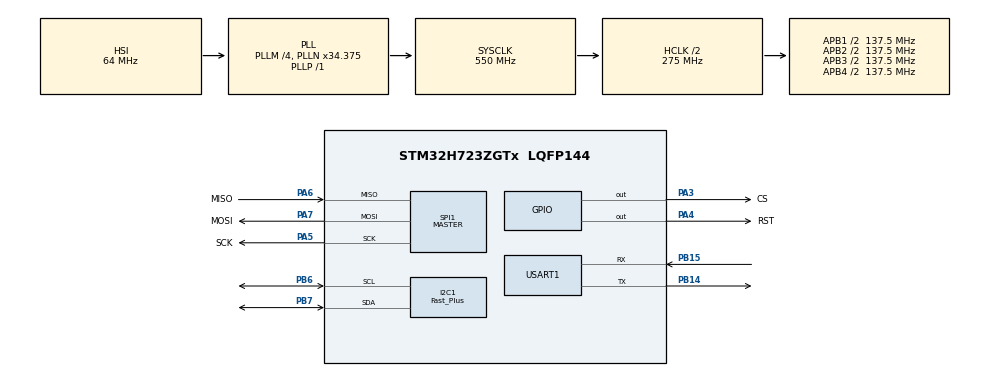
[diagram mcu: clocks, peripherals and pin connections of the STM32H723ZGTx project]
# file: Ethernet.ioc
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CORTEX_M7.default_mode_Activation=1
I2C1.I2C_Speed_Mode=I2C_Fast_Plus
I2C1.Timing=0x00601A5C
Mcu.Family=STM32H7
Mcu.Name=STM32H723ZGTx
Mcu.Package=LQFP144
NVIC.PriorityGroup=NVIC_PRIORITYGROUP_4
PA13(JTMS/SWDIO).Mode=Serial_Wire
PA13(JTMS/SWDIO).Signal=DEBUG_JTMS-SWDIO
PA14(JTCK/SWCLK).Mode=Serial_Wire
PA14(JTCK/SWCLK).Signal=DEBUG_JTCK-SWCLK
PA3.GPIO_Label=CS
PA3.Signal=GPIO_Output
PA4.GPIO_Label=RST
PA4.PinState=GPIO_PIN_SET
PA4.Signal=GPIO_Output
PA5.GPIO_Label=SCK
PA5.Mode=Full_Duplex_Master
PA5.Signal=SPI1_SCK
PA6.GPIO_Label=MISO
PA6.Mode=Full_Duplex_Master
PA6.Signal=SPI1_MISO
PA7.GPIO_Label=MOSI
PA7.Mode=Full_Duplex_Master
PA7.Signal=SPI1_MOSI
PB14.Mode=Asynchronous
PB14.Signal=USART1_TX
PB15.Mode=Asynchronous
PB15.Signal=USART1_RX
PB6.Mode=I2C
PB6.Signal=I2C1_SCL
PB7.Mode=I2C
PB7.Signal=I2C1_SDA
PH0-OSC_IN.Mode=HSE-External-Oscillator
PH0-OSC_IN.Signal=RCC_OSC_IN
PH1-OSC_OUT.Mode=HSE-External-Oscillator
PH1-OSC_OUT.Signal=RCC_OSC_OUT
ProjectManager.HeapSize=0x200
ProjectManager.StackSize=0x400
ProjectManager.TargetToolchain=STM32CubeIDE
RCC.ADCFreq_Value=129000000
RCC.APB1Freq_Value=137500000
RCC.APB2Freq_Value=137500000
RCC.APB3Freq_Value=137500000
RCC.APB4Freq_Value=137500000
RCC.CortexFreq_Value=550000000
RCC.D1PPRE=RCC_APB3_DIV2
RCC.D2PPRE1=RCC_APB1_DIV2
RCC.D2PPRE2=RCC_APB2_DIV2
RCC.D3PPRE=RCC_APB4_DIV2
RCC.DIVM1=4
RCC.DIVN1=34
RCC.DIVP1=1
RCC.DIVQ1=3
RCC.HCLKFreq_Value=275000000
RCC.HPRE=RCC_HCLK_DIV2
RCC.PLL2FRACN=0
RCC.PLL3FRACN=0
RCC.PLLFRACN=3072
RCC.SYSCLKFreq_VALUE=550000000
RCC.SYSCLKSource=RCC_SYSCLKSOURCE_PLLCLK
RCC.USBFreq_Value=183333333.33333334
SPI1.BaudRatePrescaler=SPI_BAUDRATEPRESCALER_4
SPI1.CalculateBaudRate=45.833332 MBits/s
SPI1.DataSize=SPI_DATASIZE_8BIT
SPI1.Direction=SPI_DIRECTION_2LINES
SPI1.Mode=SPI_MODE_MASTER
SPI1.NSSPMode=SPI_NSS_PULSE_DISABLE
SPI1.VirtualType=VM_MASTER
USART1.VirtualMode-Asynchronous=VM_ASYNC
VP_MEMORYMAP_VS_MEMORYMAP.Mode=CurAppReg
board=custom

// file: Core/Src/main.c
/* USER CODE BEGIN Header */
/**
  ******************************************************************************
  * @file           : main.c
  * @brief          : Main program body
  ******************************************************************************
  * @attention
  *
  * Copyright (c) 2026 STMicroelectronics.
  * All rights reserved.
  *
  * This software is licensed under terms that can be found in the LICENSE file
  * in the root directory of this software component.
  * If no LICENSE file comes with this software, it is provided AS-IS.
  *
  ******************************************************************************
  */
/* USER CODE END Header */
#include "main.h"

/* USER CODE BEGIN Includes */
#include "W5500_MQTT.h"
#include "MQTTClient.h"
#include "MLX90640_API.h"
#include "MLX90640_I2C_Driver.h"
#include <stdio.h>
#include <string.h>
/* USER CODE END Includes */

/* USER CODE BEGIN PD */
#define MLX90640_ADDR 0x33
/* USER CODE END PD */

I2C_HandleTypeDef hi2c1;

SPI_HandleTypeDef hspi1;

UART_HandleTypeDef huart1;

/* USER CODE BEGIN PV */
Network network;
MQTTClient client;
uint8_t sendbuf[6000], readbuf[512];
uint8_t mac_addr[] = {0x00, 0x08, 0xdc, 0x11, 0x22, 0x33};

uint8_t broker_ip[4] = {0, 0, 0, 0};

uint16_t eeMLX90640[832];       // Mảng chứa dữ liệu EEPROM
uint16_t frame[834];            // Mảng chứa dữ liệu thô của 1 khung hình
float MLX90640To[768];          // Mảng chứa nhiệt độ (độ C) của 32x24 pixels
paramsMLX90640 mlx90640Params;	// Chứa tham số calib
char txBuff[6000];

uint8_t is_dns_resolved = 0;
uint8_t is_mqtt_connected = 0;
/* USER CODE END PV */

void SystemClock_Config(void);
static void MPU_Config(void);
static void MX_GPIO_Init(void);
static void MX_SPI1_Init(void);
static void MX_USART1_UART_Init(void);
static void MX_I2C1_Init(void);
/* USER CODE BEGIN PFP */
void MLX90640_Setup(void);
void MLX90640_Process_MQTT(void);
/* USER CODE END PFP */

/* USER CODE BEGIN 0 */
void MLX90640_Setup(void)
{
    int status;
    char buffer[50];

    MLX90640_SetChessMode(MLX90640_ADDR);
    // Thiết lập tốc độ làm tươi (Refresh Rate). Ví dụ: 0x03 = 4Hz, 0x04 = 8Hz
    MLX90640_SetRefreshRate(MLX90640_ADDR, 0x06);

    // Đọc toàn bộ bộ nhớ EEPROM của cảm biến
    status = MLX90640_DumpEE(MLX90640_ADDR, eeMLX90640);
    if (status != 0)
    {
        sprintf(buffer, "Loi doc EEPROM!\r\n");
        HAL_UART_Transmit(&huart1, (uint8_t*)buffer, strlen(buffer), 50);
    }

    // Trích xuất các hệ số hiệu chuẩn vào struct
    status = MLX90640_ExtractParameters(eeMLX90640, &mlx90640Params);
    if (status != 0)
    {
        sprintf(buffer, "Loi trich xuat tham so!\r\n");
        HAL_UART_Transmit(&huart1, (uint8_t*)buffer, strlen(buffer), 50);
    }
}

void MLX90640_Process_MQTT(void)
{
    int subpage;
    float ta, tr, vdd;
    float emissivity = 0.95;

    subpage = MLX90640_GetFrameData(MLX90640_ADDR, frame);

    if (subpage >= 0)
    {
    	vdd = MLX90640_GetVdd(frame, &mlx90640Params);
    	ta = MLX90640_GetTa(frame, &mlx90640Params);
    	tr = ta - 8.0f;
        MLX90640_CalculateTo(frame, &mlx90640Params, emissivity, tr, MLX90640To);

        // Chỉ gửi đi khi đã lấy đủ cả 2 subpage (Khung hình hoàn chỉnh)
        if (subpage == 1 && is_mqtt_connected == 1)
        {
        	int offset = 0;

        	// XÓA SẠCH BỘ ĐỆM CŨ TRƯỚC KHI GHI CHUỖI MỚI (CHỐNG TRÀN BỘ NHỚ)
        	memset(txBuff, 0, sizeof(txBuff));
            // 1. Mở đầu chuỗi JSON
			offset += sprintf(txBuff + offset, "{heatmap:[");

            // 2. Chèn 768 giá trị vào mảng
			for (int i = 0; i < 768; i++)
			{
                // Dùng %.1f để giữ 1 số thập phân (tiết kiệm dung lượng chuỗi)
                offset += sprintf(txBuff + offset, "%d", (int)(MLX90640To[i]*10.0f));
                if (i < 767) {
                    offset += sprintf(txBuff + offset, ","); // Thêm dấu phẩy giữa các số
                }
            }

            // 3. Đóng chuỗi JSON
			offset += sprintf(txBuff + offset, "]}");

            // 4. Gửi qua MQTT
            MQTTMessage pub_msg;
            memset(&pub_msg, 0, sizeof(pub_msg));
            pub_msg.qos = QOS0;
            pub_msg.retained = 0;
            pub_msg.dup = 0;
            pub_msg.payload = txBuff;
            pub_msg.payloadlen = offset; // Kích thước chuỗi lúc này rơi vào khoảng 3800 bytes

            if (MQTTPublish(&client, "v1/devices/me/telemetry", &pub_msg) == MQTT_SUCCESS) {
                HAL_UART_Transmit(&huart1, (uint8_t*)"Gui anh nhiet OK!\r\n", 19, 100);
            } else {
                HAL_UART_Transmit(&huart1, (uint8_t*)"Gui anh nhiet FAILED!\r\n", 23, 100);
            }
        }
    }
}
/* USER CODE END 0 */

int main(void)
{

  /* MPU Configuration--------------------------------------------------------*/
  MPU_Config();

  /* MCU Configuration--------------------------------------------------------*/

  /* Reset of all peripherals, Initializes the Flash interface and the Systick. */
  HAL_Init();

  /* Configure the system clock */
  SystemClock_Config();

  /* Initialize all configured peripherals */
  MX_GPIO_Init();
  MX_SPI1_Init();
  MX_USART1_UART_Init();
  MX_I2C1_Init();
  /* USER CODE BEGIN 2 */
  MLX90640_Setup();

  char msg[] = "W5500 SPI Initializing...\r\n";
  HAL_UART_Transmit(&huart1, (uint8_t*)msg, strlen(msg), 100);

  uint8_t v = getVERSIONR();
  if (W5500_Hardware_Init() == 1)
  {
	  char msg_spi[] = "W5500 SPI Init OK!\r\n";
	  HAL_UART_Transmit(&huart1, (uint8_t*)msg_spi, strlen(msg_spi), 100);
  }
  else
  {
	  char msg_spi_err[] = "W5500 SPI Init FAILED!\r\n";
	  HAL_UART_Transmit(&huart1, (uint8_t*)msg_spi_err, strlen(msg_spi_err), 100);
	  sprintf(msg_spi_err, "SPI ERROR! Doc Version W5500 ra %d (Mong doi: 4)\r\n", v);
      HAL_UART_Transmit(&huart1, (uint8_t*)msg_spi_err, strlen(msg_spi_err), 100);
  }

  W5500_DHCP_Init(mac_addr);
  NetworkInit(&network, MQTT_SOCKET);
  MQTTClientInit(&client, &network, 8000, sendbuf, sizeof(sendbuf), readbuf, sizeof(readbuf));

  char buf[100];

  uint32_t last_dhcp_log = 0; // tránh spam log DHCP quá nhanh
  /* USER CODE END 2 */

  /* Infinite loop */
  /* USER CODE BEGIN WHILE */
  while (1)
  {
	  // Duy trì mạng DHCP
	        if (W5500_DHCP_Run() == 1)
	        {
	            // 1. DỊCH TÊN MIỀN
	            if (is_dns_resolved == 0)
	            {
	                char msg_dns1[] = "Converting ThingsBoard domain...\r\n";
	                HAL_UART_Transmit(&huart1, (uint8_t*)msg_dns1, strlen(msg_dns1), 100);

	                if (W5500_DNS_Resolve("eu.thingsboard.cloud", broker_ip) == 1)
	                {
	                    sprintf(buf, "DNS Success! IP: %d.%d.%d.%d\r\n", broker_ip[0], broker_ip[1], broker_ip[2], broker_ip[3]);
	                    HAL_UART_Transmit(&huart1, (uint8_t*)buf, strlen(buf), 100);
	                    is_dns_resolved = 1;
	                }
	                else
	                {
	                    char msg_dns_err[] = "DNS Error, retrying in 2s...\r\n";
	                    HAL_UART_Transmit(&huart1, (uint8_t*)msg_dns_err, strlen(msg_dns_err), 100);
	                    HAL_Delay(2000);
	                }
	            }

	            // 2. KẾT NỐI TCP & MQTT (Dùng 'if' thay cho 'else if' để chạy ngay lập tức)
	            if (is_dns_resolved == 1 && is_mqtt_connected == 0)
	            {
	                // Khởi tạo Port động chống kẹt Socket
	                static uint16_t local_port = 30000;
	                local_port++;
	                if (local_port > 60000) local_port = 30000;

	                disconnect(MQTT_SOCKET);
	                close(MQTT_SOCKET);
	                socket(MQTT_SOCKET, Sn_MR_TCP, local_port, 0);

	                if (connect(MQTT_SOCKET, broker_ip, 1883) == SOCK_OK)
	                {
	                    // Kiểm tra TCP Established
	                    uint32_t tcp_timeout = HAL_GetTick();
	                    uint8_t tcp_ok = 0;
	                    while (HAL_GetTick() - tcp_timeout < 5000) {
	                        if (getSn_SR(MQTT_SOCKET) == SOCK_ESTABLISHED) {
	                            tcp_ok = 1;
	                            break;
	                        }
	                        if (getSn_SR(MQTT_SOCKET) == SOCK_CLOSED) break;
	                        HAL_Delay(10);
	                    }

	                    if (tcp_ok == 1)
	                    {
	                        MQTTPacket_connectData data = MQTTPacket_connectData_initializer;
	                        data.MQTTVersion = 3;
	                        data.clientID.cstring = "STM32_EU_Cloud"; // Tên thiết bị
	                        data.username.cstring = "e1818hk2mp31yijnw1bs"; // ACCESS TOKEN CỦA BẠN
	                        data.password.cstring = NULL;

	                        if (MQTTConnect(&client, &data) == MQTT_SUCCESS)
	                        {
	                            is_mqtt_connected = 1;
	                            char msg_mqtt_ok[] = "Connected to ThingsBoard successfully!\r\n";
	                            HAL_UART_Transmit(&huart1, (uint8_t*)msg_mqtt_ok, strlen(msg_mqtt_ok), 100);
	                        }
	                        else
	                        {
	                            char msg_fail[] = "MQTT Connect FAILED!\r\n";
	                            HAL_UART_Transmit(&huart1, (uint8_t*)msg_fail, strlen(msg_fail), 100);
	                            close(MQTT_SOCKET);
	                            is_dns_resolved = 0;
	                        }
	                    }
	                    else
	                    {
	                        close(MQTT_SOCKET);
	                        is_dns_resolved = 0;
	                    }
	                }
	                else
	                {
	                    close(MQTT_SOCKET);
	                    is_dns_resolved = 0;
	                    HAL_Delay(10);
	                }
	            }

	            // 3. BẮT ĐẦU PUBLISH
	            if (is_mqtt_connected == 1)
	            {
	                if (MQTTYield(&client, 10) != MQTT_SUCCESS)
	                {
	                    is_mqtt_connected = 0;
	                    NetworkDisconnect(&network);
	                    char msg_drop[] = "MQTT Connection Lost!\r\n";
	                    HAL_UART_Transmit(&huart1, (uint8_t*)msg_drop, strlen(msg_drop), 100);
	                    continue;
	                }

	                // --- DỌN RÁC BỘ NHỚ VÀ ĐÓNG GÓI JSON ---
	                MLX90640_Process_MQTT();
	                HAL_Delay(200);
	            }
	        }
	        else
	        {
	            // Đang xin DHCP hoặc rớt mạng (Bây giờ nó đã nằm đúng vị trí!)
	            is_dns_resolved = 0;
	            is_mqtt_connected = 0;
	            // Báo "nhịp tim" mỗi 1 giây để chống mù thông tin
	            if (HAL_GetTick() - last_dhcp_log > 1000) {
	            	HAL_UART_Transmit(&huart1, (uint8_t*)"Dang xin IP tu Router...\r\n", 26, 100);
	            	last_dhcp_log = HAL_GetTick();
	            }
	        }
    /* USER CODE END WHILE */

  }
}

void SystemClock_Config(void)
{
  RCC_OscInitTypeDef RCC_OscInitStruct = {0};
  RCC_ClkInitTypeDef RCC_ClkInitStruct = {0};

  /** Supply configuration update enable
  */
  HAL_PWREx_ConfigSupply(PWR_LDO_SUPPLY);

  /** Configure the main internal regulator output voltage
  */
  __HAL_PWR_VOLTAGESCALING_CONFIG(PWR_REGULATOR_VOLTAGE_SCALE0);

  while(!__HAL_PWR_GET_FLAG(PWR_FLAG_VOSRDY)) {}

  /** Initializes the RCC Oscillators according to the specified parameters
  * in the RCC_OscInitTypeDef structure.
  */
  RCC_OscInitStruct.OscillatorType = RCC_OSCILLATORTYPE_HSI;
  RCC_OscInitStruct.HSIState = RCC_HSI_DIV1;
  RCC_OscInitStruct.HSICalibrationValue = 64;
  RCC_OscInitStruct.PLL.PLLState = RCC_PLL_ON;
  RCC_OscInitStruct.PLL.PLLSource = RCC_PLLSOURCE_HSI;
  RCC_OscInitStruct.PLL.PLLM = 4;
  RCC_OscInitStruct.PLL.PLLN = 34;
  RCC_OscInitStruct.PLL.PLLP = 1;
  RCC_OscInitStruct.PLL.PLLQ = 3;
  RCC_OscInitStruct.PLL.PLLR = 2;
  RCC_OscInitStruct.PLL.PLLRGE = RCC_PLL1VCIRANGE_3;
  RCC_OscInitStruct.PLL.PLLVCOSEL = RCC_PLL1VCOWIDE;
  RCC_OscInitStruct.PLL.PLLFRACN = 3072;
  if (HAL_RCC_OscConfig(&RCC_OscInitStruct) != HAL_OK)
  {
    Error_Handler();
  }

  /** Initializes the CPU, AHB and APB buses clocks
  */
  RCC_ClkInitStruct.ClockType = RCC_CLOCKTYPE_HCLK|RCC_CLOCKTYPE_SYSCLK
                              |RCC_CLOCKTYPE_PCLK1|RCC_CLOCKTYPE_PCLK2
                              |RCC_CLOCKTYPE_D3PCLK1|RCC_CLOCKTYPE_D1PCLK1;
  RCC_ClkInitStruct.SYSCLKSource = RCC_SYSCLKSOURCE_PLLCLK;
  RCC_ClkInitStruct.SYSCLKDivider = RCC_SYSCLK_DIV1;
  RCC_ClkInitStruct.AHBCLKDivider = RCC_HCLK_DIV2;
  RCC_ClkInitStruct.APB3CLKDivider = RCC_APB3_DIV2;
  RCC_ClkInitStruct.APB1CLKDivider = RCC_APB1_DIV2;
  RCC_ClkInitStruct.APB2CLKDivider = RCC_APB2_DIV2;
  RCC_ClkInitStruct.APB4CLKDivider = RCC_APB4_DIV2;

  if (HAL_RCC_ClockConfig(&RCC_ClkInitStruct, FLASH_LATENCY_3) != HAL_OK)
  {
    Error_Handler();
  }
}

static void MX_I2C1_Init(void)
{

  hi2c1.Instance = I2C1;
  hi2c1.Init.Timing = 0x00601A5C;
  hi2c1.Init.OwnAddress1 = 0;
  hi2c1.Init.AddressingMode = I2C_ADDRESSINGMODE_7BIT;
  hi2c1.Init.DualAddressMode = I2C_DUALADDRESS_DISABLE;
  hi2c1.Init.OwnAddress2 = 0;
  hi2c1.Init.OwnAddress2Masks = I2C_OA2_NOMASK;
  hi2c1.Init.GeneralCallMode = I2C_GENERALCALL_DISABLE;
  hi2c1.Init.NoStretchMode = I2C_NOSTRETCH_DISABLE;
  if (HAL_I2C_Init(&hi2c1) != HAL_OK)
  {
    Error_Handler();
  }

  /** Configure Analogue filter
  */
  if (HAL_I2CEx_ConfigAnalogFilter(&hi2c1, I2C_ANALOGFILTER_ENABLE) != HAL_OK)
  {
    Error_Handler();
  }

  /** Configure Digital filter
  */
  if (HAL_I2CEx_ConfigDigitalFilter(&hi2c1, 0) != HAL_OK)
  {
    Error_Handler();
  }

  /** I2C Enable Fast Mode Plus
  */
  HAL_I2CEx_EnableFastModePlus(I2C_FASTMODEPLUS_I2C1);

}

static void MX_SPI1_Init(void)
{

  /* SPI1 parameter configuration*/
  hspi1.Instance = SPI1;
  hspi1.Init.Mode = SPI_MODE_MASTER;
  hspi1.Init.Direction = SPI_DIRECTION_2LINES;
  hspi1.Init.DataSize = SPI_DATASIZE_8BIT;
  hspi1.Init.CLKPolarity = SPI_POLARITY_LOW;
  hspi1.Init.CLKPhase = SPI_PHASE_1EDGE;
  hspi1.Init.NSS = SPI_NSS_SOFT;
  hspi1.Init.BaudRatePrescaler = SPI_BAUDRATEPRESCALER_16;
  hspi1.Init.FirstBit = SPI_FIRSTBIT_MSB;
  hspi1.Init.TIMode = SPI_TIMODE_DISABLE;
  hspi1.Init.CRCCalculation = SPI_CRCCALCULATION_DISABLE;
  hspi1.Init.CRCPolynomial = 0x0;
  hspi1.Init.NSSPMode = SPI_NSS_PULSE_DISABLE;
  hspi1.Init.NSSPolarity = SPI_NSS_POLARITY_LOW;
  hspi1.Init.FifoThreshold = SPI_FIFO_THRESHOLD_01DATA;
  hspi1.Init.TxCRCInitializationPattern = SPI_CRC_INITIALIZATION_ALL_ZERO_PATTERN;
  hspi1.Init.RxCRCInitializationPattern = SPI_CRC_INITIALIZATION_ALL_ZERO_PATTERN;
  hspi1.Init.MasterSSIdleness = SPI_MASTER_SS_IDLENESS_00CYCLE;
  hspi1.Init.MasterInterDataIdleness = SPI_MASTER_INTERDATA_IDLENESS_00CYCLE;
  hspi1.Init.MasterReceiverAutoSusp = SPI_MASTER_RX_AUTOSUSP_DISABLE;
  hspi1.Init.MasterKeepIOState = SPI_MASTER_KEEP_IO_STATE_DISABLE;
  hspi1.Init.IOSwap = SPI_IO_SWAP_DISABLE;
  if (HAL_SPI_Init(&hspi1) != HAL_OK)
  {
    Error_Handler();
  }

}

static void MX_USART1_UART_Init(void)
{

  huart1.Instance = USART1;
  huart1.Init.BaudRate = 115200;
  huart1.Init.WordLength = UART_WORDLENGTH_8B;
  huart1.Init.StopBits = UART_STOPBITS_1;
  huart1.Init.Parity = UART_PARITY_NONE;
  huart1.Init.Mode = UART_MODE_TX_RX;
  huart1.Init.HwFlowCtl = UART_HWCONTROL_NONE;
  huart1.Init.OverSampling = UART_OVERSAMPLING_16;
  huart1.Init.OneBitSampling = UART_ONE_BIT_SAMPLE_DISABLE;
  huart1.Init.ClockPrescaler = UART_PRESCALER_DIV1;
  huart1.AdvancedInit.AdvFeatureInit = UART_ADVFEATURE_NO_INIT;
  if (HAL_UART_Init(&huart1) != HAL_OK)
  {
    Error_Handler();
  }
  if (HAL_UARTEx_SetTxFifoThreshold(&huart1, UART_TXFIFO_THRESHOLD_1_8) != HAL_OK)
  {
    Error_Handler();
  }
  if (HAL_UARTEx_SetRxFifoThreshold(&huart1, UART_RXFIFO_THRESHOLD_1_8) != HAL_OK)
  {
    Error_Handler();
  }
  if (HAL_UARTEx_DisableFifoMode(&huart1) != HAL_OK)
  {
    Error_Handler();
  }

}

static void MX_GPIO_Init(void)
{
  GPIO_InitTypeDef GPIO_InitStruct = {0};

  /* GPIO Ports Clock Enable */
  __HAL_RCC_GPIOH_CLK_ENABLE();
  __HAL_RCC_GPIOA_CLK_ENABLE();
  __HAL_RCC_GPIOB_CLK_ENABLE();

  /*Configure GPIO pin Output Level */
  HAL_GPIO_WritePin(CS_GPIO_Port, CS_Pin, GPIO_PIN_RESET);

  /*Configure GPIO pin Output Level */
  HAL_GPIO_WritePin(RST_GPIO_Port, RST_Pin, GPIO_PIN_SET);

  /*Configure GPIO pins : CS_Pin RST_Pin */
  GPIO_InitStruct.Pin = CS_Pin|RST_Pin;
  GPIO_InitStruct.Mode = GPIO_MODE_OUTPUT_PP;
  GPIO_InitStruct.Pull = GPIO_NOPULL;
  GPIO_InitStruct.Speed = GPIO_SPEED_FREQ_LOW;
  HAL_GPIO_Init(GPIOA, &GPIO_InitStruct);

}

 /* MPU Configuration */

void MPU_Config(void)
{
  MPU_Region_InitTypeDef MPU_InitStruct = {0};

  /* Disables the MPU */
  HAL_MPU_Disable();

  /** Initializes and configures the Region and the memory to be protected
  */
  MPU_InitStruct.Enable = MPU_REGION_ENABLE;
  MPU_InitStruct.Number = MPU_REGION_NUMBER0;
  MPU_InitStruct.BaseAddress = 0x0;
  MPU_InitStruct.Size = MPU_REGION_SIZE_4GB;
  MPU_InitStruct.SubRegionDisable = 0x87;
  MPU_InitStruct.TypeExtField = MPU_TEX_LEVEL0;
  MPU_InitStruct.AccessPermission = MPU_REGION_NO_ACCESS;
  MPU_InitStruct.DisableExec = MPU_INSTRUCTION_ACCESS_DISABLE;
  MPU_InitStruct.IsShareable = MPU_ACCESS_SHAREABLE;
  MPU_InitStruct.IsCacheable = MPU_ACCESS_NOT_CACHEABLE;
  MPU_InitStruct.IsBufferable = MPU_ACCESS_NOT_BUFFERABLE;

  HAL_MPU_ConfigRegion(&MPU_InitStruct);
  /* Enables the MPU */
  HAL_MPU_Enable(MPU_PRIVILEGED_DEFAULT);

}

void Error_Handler(void)
{
  __disable_irq();
  while (1)
  {
  }
}
